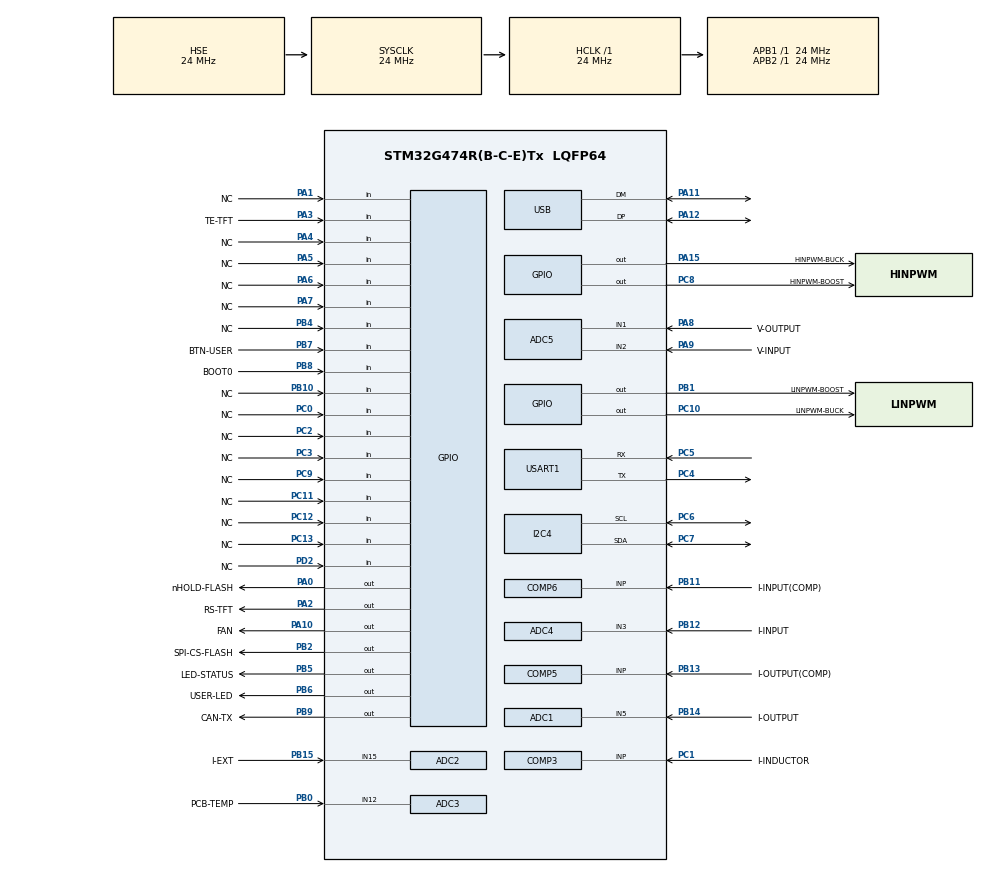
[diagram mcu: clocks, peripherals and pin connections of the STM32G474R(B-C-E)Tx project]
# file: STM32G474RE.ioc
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ADC1.Channel-3\#ChannelRegularConversion=ADC_CHANNEL_5
ADC1.NbrOfConversionFlag=1
ADC1.OffsetNumber-3\#ChannelRegularConversion=ADC_OFFSET_NONE
ADC1.Rank-3\#ChannelRegularConversion=1
ADC1.SamplingTime-3\#ChannelRegularConversion=ADC_SAMPLETIME_2CYCLES_5
ADC1.master=1
ADC2.Channel-4\#ChannelRegularConversion=ADC_CHANNEL_15
ADC2.NbrOfConversionFlag=1
ADC2.OffsetNumber-4\#ChannelRegularConversion=ADC_OFFSET_NONE
ADC2.Rank-4\#ChannelRegularConversion=1
ADC2.SamplingTime-4\#ChannelRegularConversion=ADC_SAMPLETIME_2CYCLES_5
ADC3.Channel-5\#ChannelRegularConversion=ADC_CHANNEL_12
ADC3.NbrOfConversionFlag=1
ADC3.OffsetNumber-5\#ChannelRegularConversion=ADC_OFFSET_NONE
ADC3.Rank-5\#ChannelRegularConversion=1
ADC3.SamplingTime-5\#ChannelRegularConversion=ADC_SAMPLETIME_2CYCLES_5
ADC3.master=1
ADC4.Channel-2\#ChannelRegularConversion=ADC_CHANNEL_3
ADC4.NbrOfConversionFlag=1
ADC4.OffsetNumber-2\#ChannelRegularConversion=ADC_OFFSET_NONE
ADC4.Rank-2\#ChannelRegularConversion=1
ADC4.SamplingTime-2\#ChannelRegularConversion=ADC_SAMPLETIME_2CYCLES_5
ADC5.Channel-2\#ChannelRegularConversion=ADC_CHANNEL_1
ADC5.NbrOfConversionFlag=1
ADC5.OffsetNumber-2\#ChannelRegularConversion=ADC_OFFSET_NONE
ADC5.Rank-2\#ChannelRegularConversion=1
ADC5.SamplingTime-2\#ChannelRegularConversion=ADC_SAMPLETIME_2CYCLES_5
DAC1.DAC_Channel-DAC_OUT2_Int=DAC_CHANNEL_2
DAC3.DAC_Channel-DAC_OUT2_Int=DAC_CHANNEL_2
DAC4.DAC_Channel-DAC_OUT2_Int=DAC_CHANNEL_2
I2C4.Timing=0x00506682
Mcu.Family=STM32G4
Mcu.Name=STM32G474R(B-C-E)Tx
Mcu.Package=LQFP64
NVIC.PriorityGroup=NVIC_PRIORITYGROUP_4
PA0.GPIO_Label=nHOLD-FLASH
PA0.Signal=GPIO_Output
PA1.GPIO_Label=NC
PA1.GPIO_PuPd=GPIO_PULLDOWN
PA1.Signal=GPIO_Input
PA10.GPIO_Label=FAN
PA10.Signal=GPIO_Output
PA11.Mode=Device
PA11.Signal=USB_DM
PA12.Mode=Device
PA12.Signal=USB_DP
PA13.Mode=Trace_Asynchronous_SW
PA13.Signal=SYS_JTMS-SWDIO
PA14.Mode=Trace_Asynchronous_SW
PA14.Signal=SYS_JTCK-SWCLK
PA15.GPIO_Label=HINPWM-BUCK
PA15.Signal=GPIO_Output
PA2.GPIO_Label=RS-TFT
PA2.PinState=GPIO_PIN_RESET
PA2.Signal=GPIO_Output
PA3.GPIO_Label=TE-TFT
PA3.GPIO_PuPd=GPIO_PULLDOWN
PA3.Signal=GPIO_Input
PA4.GPIO_Label=NC
PA4.GPIO_PuPd=GPIO_PULLDOWN
PA4.Signal=GPIO_Input
PA5.GPIO_Label=NC
PA5.GPIO_PuPd=GPIO_PULLDOWN
PA5.Signal=GPIO_Input
PA6.GPIO_Label=NC
PA6.GPIO_PuPd=GPIO_PULLDOWN
PA6.Signal=GPIO_Input
PA7.GPIO_Label=NC
PA7.GPIO_PuPd=GPIO_PULLDOWN
PA7.Signal=GPIO_Input
PA8.GPIO_Label=V-OUTPUT
PA8.Mode=IN1-Single-Ended
PA8.Signal=ADC5_IN1
PA9.GPIO_Label=V-INPUT
PA9.Mode=IN2-Single-Ended
PA9.Signal=ADC5_IN2
PB0.GPIO_Label=PCB-TEMP
PB0.Mode=IN12-Single-Ended
PB0.Signal=ADC3_IN12
PB1.GPIO_Label=LINPWM-BOOST
PB1.Signal=GPIO_Output
PB10.GPIO_Label=NC
PB10.GPIO_PuPd=GPIO_PULLDOWN
PB10.Signal=GPIO_Input
PB11.GPIO_Label=I-INPUT(COMP)
PB11.Mode=INP
PB11.Signal=COMP6_INP
PB12.GPIO_Label=I-INPUT
PB12.Mode=IN3-Single-Ended
PB12.Signal=ADC4_IN3
PB13.GPIO_Label=I-OUTPUT(COMP)
PB13.Mode=INP
PB13.Signal=COMP5_INP
PB14.GPIO_Label=I-OUTPUT
PB14.Mode=IN5-Single-Ended
PB14.Signal=ADC1_IN5
PB15.GPIO_Label=I-EXT
PB15.Mode=IN15-Single-Ended
PB15.Signal=ADC2_IN15
PB2.GPIO_Label=SPI-CS-FLASH
PB2.Signal=GPIO_Output
PB3.Mode=Trace_Asynchronous_SW
PB3.Signal=SYS_JTDO-SWO
PB4.GPIO_Label=NC
PB4.GPIO_Mode=GPIO_MODE_INPUT
PB4.GPIO_PuPd=GPIO_PULLDOWN
PB4.Signal=GPIO_Input
PB5.GPIO_Label=LED-STATUS
PB5.Signal=GPIO_Output
PB6.GPIO_Label=USER-LED
PB6.Signal=GPIO_Output
PB7.GPIO_Label=BTN-USER
PB7.GPIO_PuPd=GPIO_PULLDOWN
PB7.Signal=GPIO_Input
PB8-BOOT0.GPIO_Label=BOOT0
PB8-BOOT0.GPIO_PuPd=GPIO_PULLDOWN
PB8-BOOT0.Signal=GPIO_Input
PB9.GPIO_Label=CAN-TX
PB9.Signal=GPIO_Output
PC0.GPIO_Label=NC
PC0.GPIO_PuPd=GPIO_PULLDOWN
PC0.Signal=GPIO_Input
PC1.GPIO_Label=I-INDUCTOR
PC1.Mode=INP
PC1.Signal=COMP3_INP
PC10.GPIO_Label=LINPWM-BUCK
PC10.Signal=GPIO_Output
PC11.GPIO_Label=NC
PC11.GPIO_PuPd=GPIO_PULLDOWN
PC11.Signal=GPIO_Input
PC12.GPIO_Label=NC
PC12.GPIO_PuPd=GPIO_PULLDOWN
PC12.Signal=GPIO_Input
PC13.GPIO_Label=NC
PC13.GPIO_PuPd=GPIO_PULLDOWN
PC13.Signal=GPIO_Input
PC14-OSC32_IN.Mode=LSE-External-Oscillator
PC14-OSC32_IN.Signal=RCC_OSC32_IN
PC15-OSC32_OUT.Mode=LSE-External-Oscillator
PC15-OSC32_OUT.Signal=RCC_OSC32_OUT
PC2.GPIO_Label=NC
PC2.GPIO_PuPd=GPIO_PULLDOWN
PC2.Signal=GPIO_Input
PC3.GPIO_Label=NC
PC3.GPIO_PuPd=GPIO_PULLDOWN
PC3.Signal=GPIO_Input
PC4.Mode=Asynchronous
PC4.Signal=USART1_TX
PC5.Mode=Asynchronous
PC5.Signal=USART1_RX
PC6.Mode=I2C
PC6.Signal=I2C4_SCL
PC7.Mode=I2C
PC7.Signal=I2C4_SDA
PC8.GPIO_Label=HINPWM-BOOST
PC8.Signal=GPIO_Output
PC9.GPIO_Label=NC
PC9.GPIO_PuPd=GPIO_PULLDOWN
PC9.Signal=GPIO_Input
PD2.GPIO_Label=NC
PD2.GPIO_PuPd=GPIO_PULLDOWN
PD2.Signal=GPIO_Input
PF0-OSC_IN.Mode=HSE-External-Oscillator
PF0-OSC_IN.Signal=RCC_OSC_IN
PF1-OSC_OUT.Mode=HSE-External-Oscillator
PF1-OSC_OUT.Signal=RCC_OSC_OUT
ProjectManager.HeapSize=0x200
ProjectManager.StackSize=0x400
ProjectManager.TargetToolchain=STM32CubeIDE
RCC.ADC12Freq_Value=24000000
RCC.ADC345Freq_Value=24000000
RCC.AHBFreq_Value=24000000
RCC.APB1Freq_Value=24000000
RCC.APB1TimFreq_Value=24000000
RCC.APB2Freq_Value=24000000
RCC.APB2TimFreq_Value=24000000
RCC.CortexFreq_Value=24000000
RCC.EXTERNAL_CLOCK_VALUE=12288000
RCC.HCLKFreq_Value=24000000
RCC.HSE_VALUE=24000000
RCC.HSI48_VALUE=48000000
RCC.HSI_VALUE=16000000
RCC.PLLM=RCC_PLLM_DIV2
RCC.PLLSourceVirtual=RCC_PLLSOURCE_HSE
RCC.SYSCLKFreq_VALUE=24000000
RCC.SYSCLKSource=RCC_SYSCLKSOURCE_HSE
RCC.USBFreq_Value=48000000
RCC.VCOOutputFreq_Value=96000000
USART1.VirtualMode-Asynchronous=VM_ASYNC
VP_COMP3_VS_DAC3OUT1.Mode=INM_DAC3OUT1
VP_COMP5_VS_DAC4OUT1.Mode=INM_DAC4OUT1
VP_COMP6_VS_DAC2OUT1.Mode=INM_DAC2OUT1
VP_DAC1_VS_DACI1.Mode=DAC_OUT1_Int
VP_DAC1_VS_DACI2.Mode=DAC_OUT2_Int
VP_DAC2_VS_DACI1.Mode=DAC_OUT1_Int
VP_DAC3_VS_DACI1.Mode=DAC_OUT1_Int
VP_DAC3_VS_DACI2.Mode=DAC_OUT2_Int
VP_DAC4_VS_DACI1.Mode=DAC_OUT1_Int
VP_DAC4_VS_DACI2.Mode=DAC_OUT2_Int
VP_SYS_VS_DBSignals.Mode=DisableDeadBatterySignals
board=custom

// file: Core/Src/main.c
/* USER CODE BEGIN Header */
/**
 ******************************************************************************
 * @file           : main.c
 * @brief          : Main program body
 ******************************************************************************
 * @attention
 *
 * <h2><center>&copy; Copyright (c) 2021 STMicroelectronics.
 * All rights reserved.</center></h2>
 *
 * This software component is licensed by ST under BSD 3-Clause license,
 * the "License"; You may not use this file except in compliance with the
 * License. You may obtain a copy of the License at:
 *                        opensource.org/licenses/BSD-3-Clause
 *
 ******************************************************************************
 */
/* USER CODE END Header */
#include "main.h"

/* USER CODE BEGIN PD */

#define MASTER_REQ_READ    0x12
#define MASTER_REQ_WRITE   0x34
/* USER CODE END PD */

ADC_HandleTypeDef hadc1;
ADC_HandleTypeDef hadc2;
ADC_HandleTypeDef hadc3;
ADC_HandleTypeDef hadc4;
ADC_HandleTypeDef hadc5;

COMP_HandleTypeDef hcomp3;
COMP_HandleTypeDef hcomp5;
COMP_HandleTypeDef hcomp6;

DAC_HandleTypeDef hdac1;
DAC_HandleTypeDef hdac2;
DAC_HandleTypeDef hdac3;
DAC_HandleTypeDef hdac4;

I2C_HandleTypeDef hi2c4;

UART_HandleTypeDef huart1;

PCD_HandleTypeDef hpcd_USB_FS;

/* USER CODE BEGIN PV */

/* Buffer used for transmission */
uint8_t aTxBuffer[] = " ****I2C_test_communication_message**** ";

/* Buffer used for reception */
uint8_t aRxBuffer[RXBUFFERSIZE];
__IO uint16_t hTxNumData = 0;
__IO uint16_t hRxNumData = 0;
uint8_t bTransferRequest = 0;

/* USER CODE END PV */

void SystemClock_Config(void);
static void MX_GPIO_Init(void);
static void MX_ADC1_Init(void);
static void MX_ADC2_Init(void);
static void MX_ADC3_Init(void);
static void MX_ADC4_Init(void);
static void MX_ADC5_Init(void);
static void MX_COMP3_Init(void);
static void MX_COMP5_Init(void);
static void MX_COMP6_Init(void);
static void MX_DAC1_Init(void);
static void MX_DAC2_Init(void);
static void MX_DAC3_Init(void);
static void MX_DAC4_Init(void);
static void MX_I2C4_Init(void);
static void MX_USART1_UART_Init(void);
static void MX_USB_PCD_Init(void);

/* USER CODE BEGIN PFP */

static uint16_t Buffercmp(uint8_t *pBuffer1, uint8_t *pBuffer2,
		uint16_t BufferLength);
static void Flush_Buffer(uint8_t *pBuffer, uint16_t BufferLength);

/* USER CODE END PFP */

int main(void) {
	/* USER CODE BEGIN 1 */
	HAL_StatusTypeDef ret;

	/* USER CODE END 1 */

	/* MCU Configuration--------------------------------------------------------*/

	/* Reset of all peripherals, Initializes the Flash interface and the Systick. */
	HAL_Init();

	/* Configure the system clock */
	SystemClock_Config();

	/* Initialize all configured peripherals */
	MX_GPIO_Init();
	MX_ADC1_Init();
	MX_ADC2_Init();
	MX_ADC3_Init();
	MX_ADC4_Init();
	MX_ADC5_Init();
	MX_COMP3_Init();
	MX_COMP5_Init();
	MX_COMP6_Init();
	MX_DAC1_Init();
	MX_DAC2_Init();
	MX_DAC3_Init();
	MX_DAC4_Init();
	MX_I2C4_Init();
	MX_USART1_UART_Init();
	MX_USB_PCD_Init();

	/* USER CODE BEGIN 2 */

	/*Turn on LED_Status*/
	HAL_GPIO_WritePin  ( GPIOB, LED_STATUS_Pin,  GPIO_PIN_SET  );

	/* Wait for User push-button press before starting the Communication */
	while (HAL_GPIO_ReadPin(GPIOB, BTN_USER_Pin) == GPIO_PIN_RESET) {
	}

	/* Wait for User push-button release before starting the Communication */
	while (HAL_GPIO_ReadPin(GPIOB, BTN_USER_Pin) == GPIO_PIN_SET) {
	}

	/* USER CODE END 2 */

	/* Infinite loop */
	/* USER CODE BEGIN WHILE */
	while (1) {
		hTxNumData = TXBUFFERSIZE;
		hRxNumData = RXBUFFERSIZE;

		/* Update bTransferRequest to send buffer write request for Slave */
		bTransferRequest = MASTER_REQ_WRITE;

		/*##-2- Master sends write request for slave #############################*/
		do {
			if (HAL_I2C_Master_Transmit_IT(&hi2c4, (uint16_t) I2C_ADDRESS,
					(uint8_t*) &bTransferRequest, 1) != HAL_OK) {
				/* Error_Handler() function is called when error occurs. */
				Error_Handler();
			}

			/*  Before starting a new communication transfer, you need to check the current
			 state of the peripheral; if it’s busy you need to wait for the end of current
			 transfer before starting a new one.
			 For simplicity reasons, this example is just waiting till the end of the
			 transfer, but application may perform other tasks while transfer operation
			 is ongoing. */
			while (HAL_I2C_GetState(&hi2c4) != HAL_I2C_STATE_READY) {}

			/* When Acknowledge failure occurs (Slave don't acknowledge it's address)
			 Master restarts communication */
		} while (HAL_I2C_GetError(&hi2c4) == HAL_I2C_ERROR_AF);

		/*##-3- Master sends number of data to be written ########################*/
		do {
			if (HAL_I2C_Master_Transmit_IT(&hi2c4, (uint16_t) I2C_ADDRESS,
					(uint8_t*) &hTxNumData, 2) != HAL_OK) {
				/* Error_Handler() function is called when error occurs. */
				Error_Handler();
			}

			/*  Before starting a new communication transfer, you need to check the current
			 state of the peripheral; if it’s busy you need to wait for the end of current
			 transfer before starting a new one.
			 For simplicity reasons, this example is just waiting till the end of the
			 transfer, but application may perform other tasks while transfer operation
			 is ongoing. */
			while (HAL_I2C_GetState(&hi2c4) != HAL_I2C_STATE_READY) {
			}

			/* When Acknowledge failure occurs (Slave don't acknowledge it's address)
			 Master restarts communication */
		} while (HAL_I2C_GetError(&hi2c4) == HAL_I2C_ERROR_AF);

		/*##-4- Master sends aTxBuffer to slave ##################################*/
	    do
	    {
	      if (HAL_I2C_Master_Transmit_IT(&hi2c4, (uint16_t)I2C_ADDRESS, (uint8_t *)aTxBuffer, TXBUFFERSIZE) != HAL_OK)
	      {
	        /* Error_Handler() function is called when error occurs. */
	        Error_Handler();
	      }

	      /*  Before starting a new communication transfer, you need to check the current
	          state of the peripheral; if it’s busy you need to wait for the end of current
	          transfer before starting a new one.
	          For simplicity reasons, this example is just waiting till the end of the
	          transfer, but application may perform other tasks while transfer operation
	          is ongoing. */
	      while (HAL_I2C_GetState(&hi2c4) != HAL_I2C_STATE_READY)
	      {
	      }

	      /* When Acknowledge failure occurs (Slave don't acknowledge it's address)
	         Master restarts communication */
	    }
	    while (HAL_I2C_GetError(&hi2c4) == HAL_I2C_ERROR_AF);

	    /* Update bTransferRequest to send buffer read request for Slave */
	    bTransferRequest = MASTER_REQ_READ;

	    /*##-5- Master sends read request for slave ##############################*/
	    do
	    {
	      if (HAL_I2C_Master_Transmit_IT(&hi2c4, (uint16_t)I2C_ADDRESS, (uint8_t *)&bTransferRequest, 1) != HAL_OK)
	      {
	        /* Error_Handler() function is called when error occurs. */
	        Error_Handler();
	      }

	      /*  Before starting a new communication transfer, you need to check the current
	          state of the peripheral; if it’s busy you need to wait for the end of current
	          transfer before starting a new one.
	          For simplicity reasons, this example is just waiting till the end of the
	          transfer, but application may perform other tasks while transfer operation
	          is ongoing. */
	      while (HAL_I2C_GetState(&hi2c4) != HAL_I2C_STATE_READY)
	      {
	      }

	      /* When Acknowledge failure occurs (Slave don't acknowledge it's address)
	         Master restarts communication */
	    }
	    while (HAL_I2C_GetError(&hi2c4) == HAL_I2C_ERROR_AF);

	    /*##-6- Master sends number of data to be read ###########################*/
	    do
	    {
	      if (HAL_I2C_Master_Transmit_IT(&hi2c4, (uint16_t)I2C_ADDRESS, (uint8_t *)&hRxNumData, 2) != HAL_OK)
	      {
	        /* Error_Handler() function is called when error occurs. */
	        Error_Handler();
	      }

	      /*  Before starting a new communication transfer, you need to check the current
	          state of the peripheral; if it’s busy you need to wait for the end of current
	          transfer before starting a new one.
	          For simplicity reasons, this example is just waiting till the end of the
	          transfer, but application may perform other tasks while transfer operation
	          is ongoing. */
	      while (HAL_I2C_GetState(&hi2c4) != HAL_I2C_STATE_READY)
	      {
	      }

	      /* When Acknowledge failure occurs (Slave don't acknowledge it's address)
	         Master restarts communication */
	    }
	    while (HAL_I2C_GetError(&hi2c4) == HAL_I2C_ERROR_AF);

	    /*##-7- Master receives aRxBuffer from slave #############################*/
	    do
	    {
	      if (HAL_I2C_Master_Receive_IT(&hi2c4, (uint16_t)I2C_ADDRESS, (uint8_t *)aRxBuffer, RXBUFFERSIZE) != HAL_OK)
	      {
	        /* Error_Handler() function is called when error occurs. */
	        Error_Handler();
	      }

	      /*  Before starting a new communication transfer, you need to check the current
	          state of the peripheral; if it’s busy you need to wait for the end of current
	          transfer before starting a new one.
	          For simplicity reasons, this example is just waiting till the end of the
	          transfer, but application may perform other tasks while transfer operation
	          is ongoing. */
	      while (HAL_I2C_GetState(&hi2c4) != HAL_I2C_STATE_READY)
	      {
	      }

	      /* When Acknowledge failure occurs (Slave don't acknowledge it's address)
	         Master restarts communication */
	    }
	    while (HAL_I2C_GetError(&hi2c4) == HAL_I2C_ERROR_AF);

	    /* Check correctness of received buffer ##################################*/
	    if (Buffercmp((uint8_t *)aTxBuffer, (uint8_t *)aRxBuffer, hRxNumData))
	    {
	      /* Processing Error */
	      Error_Handler();
	    }

	    /* Flush Rx buffers */
	    Flush_Buffer((uint8_t *)aRxBuffer, RXBUFFERSIZE);

	    /* Toggle LED2 */
	    HAL_GPIO_TogglePin(GPIOB, LED_STATUS_Pin);

	    /* This delay permits to see LED2 toggling */
	    HAL_Delay(25);
		/* USER CODE END WHILE */

	}
}

void SystemClock_Config(void) {
	RCC_OscInitTypeDef RCC_OscInitStruct = { 0 };
	RCC_ClkInitTypeDef RCC_ClkInitStruct = { 0 };
	RCC_PeriphCLKInitTypeDef PeriphClkInit = { 0 };

	/** Configure the main internal regulator output voltage
	 */
	HAL_PWREx_ControlVoltageScaling(PWR_REGULATOR_VOLTAGE_SCALE1);
	/** Initializes the RCC Oscillators according to the specified parameters
	 * in the RCC_OscInitTypeDef structure.
	 */
	RCC_OscInitStruct.OscillatorType = RCC_OSCILLATORTYPE_HSE;
	RCC_OscInitStruct.HSEState = RCC_HSE_ON;
	RCC_OscInitStruct.PLL.PLLState = RCC_PLL_ON;
	RCC_OscInitStruct.PLL.PLLSource = RCC_PLLSOURCE_HSE;
	RCC_OscInitStruct.PLL.PLLM = RCC_PLLM_DIV2;
	RCC_OscInitStruct.PLL.PLLN = 8;
	RCC_OscInitStruct.PLL.PLLP = RCC_PLLP_DIV2;
	RCC_OscInitStruct.PLL.PLLQ = RCC_PLLQ_DIV2;
	RCC_OscInitStruct.PLL.PLLR = RCC_PLLR_DIV2;
	if (HAL_RCC_OscConfig(&RCC_OscInitStruct) != HAL_OK) {
		Error_Handler();
	}
	/** Initializes the CPU, AHB and APB buses clocks
	 */
	RCC_ClkInitStruct.ClockType = RCC_CLOCKTYPE_HCLK | RCC_CLOCKTYPE_SYSCLK
			| RCC_CLOCKTYPE_PCLK1 | RCC_CLOCKTYPE_PCLK2;
	RCC_ClkInitStruct.SYSCLKSource = RCC_SYSCLKSOURCE_HSE;
	RCC_ClkInitStruct.AHBCLKDivider = RCC_SYSCLK_DIV1;
	RCC_ClkInitStruct.APB1CLKDivider = RCC_HCLK_DIV1;
	RCC_ClkInitStruct.APB2CLKDivider = RCC_HCLK_DIV1;

	if (HAL_RCC_ClockConfig(&RCC_ClkInitStruct, FLASH_LATENCY_0) != HAL_OK) {
		Error_Handler();
	}
	/** Initializes the peripherals clocks
	 */
	PeriphClkInit.PeriphClockSelection = RCC_PERIPHCLK_USART1
			| RCC_PERIPHCLK_I2C4 | RCC_PERIPHCLK_USB | RCC_PERIPHCLK_ADC12
			| RCC_PERIPHCLK_ADC345;
	PeriphClkInit.Usart1ClockSelection = RCC_USART1CLKSOURCE_PCLK2;
	PeriphClkInit.I2c4ClockSelection = RCC_I2C4CLKSOURCE_PCLK1;
	PeriphClkInit.UsbClockSelection = RCC_USBCLKSOURCE_PLL;
	PeriphClkInit.Adc12ClockSelection = RCC_ADC12CLKSOURCE_SYSCLK;
	PeriphClkInit.Adc345ClockSelection = RCC_ADC345CLKSOURCE_SYSCLK;
	if (HAL_RCCEx_PeriphCLKConfig(&PeriphClkInit) != HAL_OK) {
		Error_Handler();
	}
}

static void MX_ADC1_Init(void) {

	ADC_MultiModeTypeDef multimode = { 0 };
	ADC_ChannelConfTypeDef sConfig = { 0 };

	/** Common config
	 */
	hadc1.Instance = ADC1;
	hadc1.Init.ClockPrescaler = ADC_CLOCK_SYNC_PCLK_DIV2;
	hadc1.Init.Resolution = ADC_RESOLUTION_12B;
	hadc1.Init.DataAlign = ADC_DATAALIGN_RIGHT;
	hadc1.Init.GainCompensation = 0;
	hadc1.Init.ScanConvMode = ADC_SCAN_DISABLE;
	hadc1.Init.EOCSelection = ADC_EOC_SINGLE_CONV;
	hadc1.Init.LowPowerAutoWait = DISABLE;
	hadc1.Init.ContinuousConvMode = DISABLE;
	hadc1.Init.NbrOfConversion = 1;
	hadc1.Init.DiscontinuousConvMode = DISABLE;
	hadc1.Init.ExternalTrigConv = ADC_SOFTWARE_START;
	hadc1.Init.ExternalTrigConvEdge = ADC_EXTERNALTRIGCONVEDGE_NONE;
	hadc1.Init.DMAContinuousRequests = DISABLE;
	hadc1.Init.Overrun = ADC_OVR_DATA_PRESERVED;
	hadc1.Init.OversamplingMode = DISABLE;
	if (HAL_ADC_Init(&hadc1) != HAL_OK) {
		Error_Handler();
	}
	/** Configure the ADC multi-mode
	 */
	multimode.Mode = ADC_MODE_INDEPENDENT;
	if (HAL_ADCEx_MultiModeConfigChannel(&hadc1, &multimode) != HAL_OK) {
		Error_Handler();
	}
	/** Configure Regular Channel
	 */
	sConfig.Channel = ADC_CHANNEL_5;
	sConfig.Rank = ADC_REGULAR_RANK_1;
	sConfig.SamplingTime = ADC_SAMPLETIME_2CYCLES_5;
	sConfig.SingleDiff = ADC_SINGLE_ENDED;
	sConfig.OffsetNumber = ADC_OFFSET_NONE;
	sConfig.Offset = 0;
	if (HAL_ADC_ConfigChannel(&hadc1, &sConfig) != HAL_OK) {
		Error_Handler();
	}

}

static void MX_ADC2_Init(void) {

	ADC_ChannelConfTypeDef sConfig = { 0 };

	/** Common config
	 */
	hadc2.Instance = ADC2;
	hadc2.Init.ClockPrescaler = ADC_CLOCK_SYNC_PCLK_DIV2;
	hadc2.Init.Resolution = ADC_RESOLUTION_12B;
	hadc2.Init.DataAlign = ADC_DATAALIGN_RIGHT;
	hadc2.Init.GainCompensation = 0;
	hadc2.Init.ScanConvMode = ADC_SCAN_DISABLE;
	hadc2.Init.EOCSelection = ADC_EOC_SINGLE_CONV;
	hadc2.Init.LowPowerAutoWait = DISABLE;
	hadc2.Init.ContinuousConvMode = DISABLE;
	hadc2.Init.NbrOfConversion = 1;
	hadc2.Init.DiscontinuousConvMode = DISABLE;
	hadc2.Init.ExternalTrigConv = ADC_SOFTWARE_START;
	hadc2.Init.ExternalTrigConvEdge = ADC_EXTERNALTRIGCONVEDGE_NONE;
	hadc2.Init.DMAContinuousRequests = DISABLE;
	hadc2.Init.Overrun = ADC_OVR_DATA_PRESERVED;
	hadc2.Init.OversamplingMode = DISABLE;
	if (HAL_ADC_Init(&hadc2) != HAL_OK) {
		Error_Handler();
	}
	/** Configure Regular Channel
	 */
	sConfig.Channel = ADC_CHANNEL_15;
	sConfig.Rank = ADC_REGULAR_RANK_1;
	sConfig.SamplingTime = ADC_SAMPLETIME_2CYCLES_5;
	sConfig.SingleDiff = ADC_SINGLE_ENDED;
	sConfig.OffsetNumber = ADC_OFFSET_NONE;
	sConfig.Offset = 0;
	if (HAL_ADC_ConfigChannel(&hadc2, &sConfig) != HAL_OK) {
		Error_Handler();
	}

}

static void MX_ADC3_Init(void) {

	ADC_MultiModeTypeDef multimode = { 0 };
	ADC_ChannelConfTypeDef sConfig = { 0 };

	/** Common config
	 */
	hadc3.Instance = ADC3;
	hadc3.Init.ClockPrescaler = ADC_CLOCK_SYNC_PCLK_DIV2;
	hadc3.Init.Resolution = ADC_RESOLUTION_12B;
	hadc3.Init.DataAlign = ADC_DATAALIGN_RIGHT;
	hadc3.Init.GainCompensation = 0;
	hadc3.Init.ScanConvMode = ADC_SCAN_DISABLE;
	hadc3.Init.EOCSelection = ADC_EOC_SINGLE_CONV;
	hadc3.Init.LowPowerAutoWait = DISABLE;
	hadc3.Init.ContinuousConvMode = DISABLE;
	hadc3.Init.NbrOfConversion = 1;
	hadc3.Init.DiscontinuousConvMode = DISABLE;
	hadc3.Init.ExternalTrigConv = ADC_SOFTWARE_START;
	hadc3.Init.ExternalTrigConvEdge = ADC_EXTERNALTRIGCONVEDGE_NONE;
	hadc3.Init.DMAContinuousRequests = DISABLE;
	hadc3.Init.Overrun = ADC_OVR_DATA_PRESERVED;
	hadc3.Init.OversamplingMode = DISABLE;
	if (HAL_ADC_Init(&hadc3) != HAL_OK) {
		Error_Handler();
	}
	/** Configure the ADC multi-mode
	 */
	multimode.Mode = ADC_MODE_INDEPENDENT;
	if (HAL_ADCEx_MultiModeConfigChannel(&hadc3, &multimode) != HAL_OK) {
		Error_Handler();
	}
	/** Configure Regular Channel
	 */
	sConfig.Channel = ADC_CHANNEL_12;
	sConfig.Rank = ADC_REGULAR_RANK_1;
	sConfig.SamplingTime = ADC_SAMPLETIME_2CYCLES_5;
	sConfig.SingleDiff = ADC_SINGLE_ENDED;
	sConfig.OffsetNumber = ADC_OFFSET_NONE;
	sConfig.Offset = 0;
	if (HAL_ADC_ConfigChannel(&hadc3, &sConfig) != HAL_OK) {
		Error_Handler();
	}

}

static void MX_ADC4_Init(void) {

	ADC_ChannelConfTypeDef sConfig = { 0 };

	/** Common config
	 */
	hadc4.Instance = ADC4;
	hadc4.Init.ClockPrescaler = ADC_CLOCK_SYNC_PCLK_DIV2;
	hadc4.Init.Resolution = ADC_RESOLUTION_12B;
	hadc4.Init.DataAlign = ADC_DATAALIGN_RIGHT;
	hadc4.Init.GainCompensation = 0;
	hadc4.Init.ScanConvMode = ADC_SCAN_DISABLE;
	hadc4.Init.EOCSelection = ADC_EOC_SINGLE_CONV;
	hadc4.Init.LowPowerAutoWait = DISABLE;
	hadc4.Init.ContinuousConvMode = DISABLE;
	hadc4.Init.NbrOfConversion = 1;
	hadc4.Init.DiscontinuousConvMode = DISABLE;
	hadc4.Init.ExternalTrigConv = ADC_SOFTWARE_START;
	hadc4.Init.ExternalTrigConvEdge = ADC_EXTERNALTRIGCONVEDGE_NONE;
	hadc4.Init.DMAContinuousRequests = DISABLE;
	hadc4.Init.Overrun = ADC_OVR_DATA_PRESERVED;
	hadc4.Init.OversamplingMode = DISABLE;
	if (HAL_ADC_Init(&hadc4) != HAL_OK) {
		Error_Handler();
	}
	/** Configure Regular Channel
	 */
	sConfig.Channel = ADC_CHANNEL_3;
	sConfig.Rank = ADC_REGULAR_RANK_1;
	sConfig.SamplingTime = ADC_SAMPLETIME_2CYCLES_5;
	sConfig.SingleDiff = ADC_SINGLE_ENDED;
	sConfig.OffsetNumber = ADC_OFFSET_NONE;
	sConfig.Offset = 0;
	if (HAL_ADC_ConfigChannel(&hadc4, &sConfig) != HAL_OK) {
		Error_Handler();
	}

}

static void MX_ADC5_Init(void) {

	ADC_ChannelConfTypeDef sConfig = { 0 };

	/** Common config
	 */
	hadc5.Instance = ADC5;
	hadc5.Init.ClockPrescaler = ADC_CLOCK_SYNC_PCLK_DIV2;
	hadc5.Init.Resolution = ADC_RESOLUTION_12B;
	hadc5.Init.DataAlign = ADC_DATAALIGN_RIGHT;
	hadc5.Init.GainCompensation = 0;
	hadc5.Init.ScanConvMode = ADC_SCAN_DISABLE;
	hadc5.Init.EOCSelection = ADC_EOC_SINGLE_CONV;
	hadc5.Init.LowPowerAutoWait = DISABLE;
	hadc5.Init.ContinuousConvMode = DISABLE;
	hadc5.Init.NbrOfConversion = 1;
	hadc5.Init.DiscontinuousConvMode = DISABLE;
	hadc5.Init.ExternalTrigConv = ADC_SOFTWARE_START;
	hadc5.Init.ExternalTrigConvEdge = ADC_EXTERNALTRIGCONVEDGE_NONE;
	hadc5.Init.DMAContinuousRequests = DISABLE;
	hadc5.Init.Overrun = ADC_OVR_DATA_PRESERVED;
	hadc5.Init.OversamplingMode = DISABLE;
	if (HAL_ADC_Init(&hadc5) != HAL_OK) {
		Error_Handler();
	}
	/** Configure Regular Channel
	 */
	sConfig.Channel = ADC_CHANNEL_1;
	sConfig.Rank = ADC_REGULAR_RANK_1;
	sConfig.SamplingTime = ADC_SAMPLETIME_2CYCLES_5;
	sConfig.SingleDiff = ADC_SINGLE_ENDED;
	sConfig.OffsetNumber = ADC_OFFSET_NONE;
	sConfig.Offset = 0;
	if (HAL_ADC_ConfigChannel(&hadc5, &sConfig) != HAL_OK) {
		Error_Handler();
	}

}

static void MX_COMP3_Init(void) {

	hcomp3.Instance = COMP3;
	hcomp3.Init.InputPlus = COMP_INPUT_PLUS_IO2;
	hcomp3.Init.InputMinus = COMP_INPUT_MINUS_DAC3_CH1;
	hcomp3.Init.OutputPol = COMP_OUTPUTPOL_NONINVERTED;
	hcomp3.Init.Hysteresis = COMP_HYSTERESIS_NONE;
	hcomp3.Init.BlankingSrce = COMP_BLANKINGSRC_NONE;
	hcomp3.Init.TriggerMode = COMP_TRIGGERMODE_NONE;
	if (HAL_COMP_Init(&hcomp3) != HAL_OK) {
		Error_Handler();
	}

}

static void MX_COMP5_Init(void) {

	hcomp5.Instance = COMP5;
	hcomp5.Init.InputPlus = COMP_INPUT_PLUS_IO1;
	hcomp5.Init.InputMinus = COMP_INPUT_MINUS_DAC4_CH1;
	hcomp5.Init.OutputPol = COMP_OUTPUTPOL_NONINVERTED;
	hcomp5.Init.Hysteresis = COMP_HYSTERESIS_NONE;
	hcomp5.Init.BlankingSrce = COMP_BLANKINGSRC_NONE;
	hcomp5.Init.TriggerMode = COMP_TRIGGERMODE_NONE;
	if (HAL_COMP_Init(&hcomp5) != HAL_OK) {
		Error_Handler();
	}

}

static void MX_COMP6_Init(void) {

	hcomp6.Instance = COMP6;
	hcomp6.Init.InputPlus = COMP_INPUT_PLUS_IO1;
	hcomp6.Init.InputMinus = COMP_INPUT_MINUS_DAC2_CH1;
	hcomp6.Init.OutputPol = COMP_OUTPUTPOL_NONINVERTED;
	hcomp6.Init.Hysteresis = COMP_HYSTERESIS_NONE;
	hcomp6.Init.BlankingSrce = COMP_BLANKINGSRC_NONE;
	hcomp6.Init.TriggerMode = COMP_TRIGGERMODE_NONE;
	if (HAL_COMP_Init(&hcomp6) != HAL_OK) {
		Error_Handler();
	}

}

static void MX_DAC1_Init(void) {

	DAC_ChannelConfTypeDef sConfig = { 0 };

	/** DAC Initialization
	 */
	hdac1.Instance = DAC1;
	if (HAL_DAC_Init(&hdac1) != HAL_OK) {
		Error_Handler();
	}
	/** DAC channel OUT1 config
	 */
	sConfig.DAC_HighFrequency = DAC_HIGH_FREQUENCY_INTERFACE_MODE_AUTOMATIC;
	sConfig.DAC_DMADoubleDataMode = DISABLE;
	sConfig.DAC_SignedFormat = DISABLE;
	sConfig.DAC_SampleAndHold = DAC_SAMPLEANDHOLD_DISABLE;
	sConfig.DAC_Trigger = DAC_TRIGGER_NONE;
	sConfig.DAC_Trigger2 = DAC_TRIGGER_NONE;
	sConfig.DAC_OutputBuffer = DAC_OUTPUTBUFFER_DISABLE;
	sConfig.DAC_ConnectOnChipPeripheral = DAC_CHIPCONNECT_INTERNAL;
	sConfig.DAC_UserTrimming = DAC_TRIMMING_FACTORY;
	if (HAL_DAC_ConfigChannel(&hdac1, &sConfig, DAC_CHANNEL_1) != HAL_OK) {
		Error_Handler();
	}
	/** DAC channel OUT2 config
	 */
	sConfig.DAC_ConnectOnChipPeripheral = DAC_CHIPCONNECT_INTERNAL;
	if (HAL_DAC_ConfigChannel(&hdac1, &sConfig, DAC_CHANNEL_2) != HAL_OK) {
		Error_Handler();
	}

}

static void MX_DAC2_Init(void) {

	DAC_ChannelConfTypeDef sConfig = { 0 };

	/** DAC Initialization
	 */
	hdac2.Instance = DAC2;
	if (HAL_DAC_Init(&hdac2) != HAL_OK) {
		Error_Handler();
	}
	/** DAC channel OUT1 config
	 */
	sConfig.DAC_HighFrequency = DAC_HIGH_FREQUENCY_INTERFACE_MODE_AUTOMATIC;
	sConfig.DAC_DMADoubleDataMode = DISABLE;
	sConfig.DAC_SignedFormat = DISABLE;
	sConfig.DAC_SampleAndHold = DAC_SAMPLEANDHOLD_DISABLE;
	sConfig.DAC_Trigger = DAC_TRIGGER_NONE;
	sConfig.DAC_Trigger2 = DAC_TRIGGER_NONE;
	sConfig.DAC_OutputBuffer = DAC_OUTPUTBUFFER_DISABLE;
	sConfig.DAC_ConnectOnChipPeripheral = DAC_CHIPCONNECT_INTERNAL;
	sConfig.DAC_UserTrimming = DAC_TRIMMING_FACTORY;
	if (HAL_DAC_ConfigChannel(&hdac2, &sConfig, DAC_CHANNEL_1) != HAL_OK) {
		Error_Handler();
	}

}

static void MX_DAC3_Init(void) {

	DAC_ChannelConfTypeDef sConfig = { 0 };

	/** DAC Initialization
	 */
	hdac3.Instance = DAC3;
	if (HAL_DAC_Init(&hdac3) != HAL_OK) {
		Error_Handler();
	}
	/** DAC channel OUT1 config
	 */
	sConfig.DAC_HighFrequency = DAC_HIGH_FREQUENCY_INTERFACE_MODE_AUTOMATIC;
	sConfig.DAC_DMADoubleDataMode = DISABLE;
	sConfig.DAC_SignedFormat = DISABLE;
	sConfig.DAC_SampleAndHold = DAC_SAMPLEANDHOLD_DISABLE;
	sConfig.DAC_Trigger = DAC_TRIGGER_NONE;
	sConfig.DAC_Trigger2 = DAC_TRIGGER_NONE;
	sConfig.DAC_OutputBuffer = DAC_OUTPUTBUFFER_DISABLE;
	sConfig.DAC_ConnectOnChipPeripheral = DAC_CHIPCONNECT_INTERNAL;
	sConfig.DAC_UserTrimming = DAC_TRIMMING_FACTORY;
	if (HAL_DAC_ConfigChannel(&hdac3, &sConfig, DAC_CHANNEL_1) != HAL_OK) {
		Error_Handler();
	}
	/** DAC channel OUT2 config
	 */
	sConfig.DAC_ConnectOnChipPeripheral = DAC_CHIPCONNECT_INTERNAL;
	if (HAL_DAC_ConfigChannel(&hdac3, &sConfig, DAC_CHANNEL_2) != HAL_OK) {
		Error_Handler();
	}

}

static void MX_DAC4_Init(void) {

	DAC_ChannelConfTypeDef sConfig = { 0 };

	/** DAC Initialization
	 */
	hdac4.Instance = DAC4;
	if (HAL_DAC_Init(&hdac4) != HAL_OK) {
		Error_Handler();
	}
	/** DAC channel OUT1 config
	 */
	sConfig.DAC_HighFrequency = DAC_HIGH_FREQUENCY_INTERFACE_MODE_AUTOMATIC;
	sConfig.DAC_DMADoubleDataMode = DISABLE;
	sConfig.DAC_SignedFormat = DISABLE;
	sConfig.DAC_SampleAndHold = DAC_SAMPLEANDHOLD_DISABLE;
	sConfig.DAC_Trigger = DAC_TRIGGER_NONE;
	sConfig.DAC_Trigger2 = DAC_TRIGGER_NONE;
	sConfig.DAC_OutputBuffer = DAC_OUTPUTBUFFER_DISABLE;
	sConfig.DAC_ConnectOnChipPeripheral = DAC_CHIPCONNECT_INTERNAL;
	sConfig.DAC_UserTrimming = DAC_TRIMMING_FACTORY;
	if (HAL_DAC_ConfigChannel(&hdac4, &sConfig, DAC_CHANNEL_1) != HAL_OK) {
		Error_Handler();
	}
	/** DAC channel OUT2 config
	 */
	sConfig.DAC_ConnectOnChipPeripheral = DAC_CHIPCONNECT_INTERNAL;
	if (HAL_DAC_ConfigChannel(&hdac4, &sConfig, DAC_CHANNEL_2) != HAL_OK) {
		Error_Handler();
	}

}

static void MX_I2C4_Init(void) {

	hi2c4.Instance = I2C4;
	hi2c4.Init.Timing = 0x00506682; //100 kHz
	hi2c4.Init.OwnAddress1 = 0;
	hi2c4.Init.AddressingMode = I2C_ADDRESSINGMODE_7BIT;
	hi2c4.Init.DualAddressMode = I2C_DUALADDRESS_DISABLE;
	hi2c4.Init.OwnAddress2 = 0;
	hi2c4.Init.OwnAddress2Masks = I2C_OA2_NOMASK;
	hi2c4.Init.GeneralCallMode = I2C_GENERALCALL_DISABLE;
	hi2c4.Init.NoStretchMode = I2C_NOSTRETCH_DISABLE;
	if (HAL_I2C_Init(&hi2c4) != HAL_OK) {
		Error_Handler();
	}
	/** Configure Analogue filter
	 */
	if (HAL_I2CEx_ConfigAnalogFilter(&hi2c4, I2C_ANALOGFILTER_ENABLE)
			!= HAL_OK) {
		Error_Handler();
	}
	/** Configure Digital filter
	 */
	if (HAL_I2CEx_ConfigDigitalFilter(&hi2c4, 0) != HAL_OK) {
		Error_Handler();
	}

}

static void MX_USART1_UART_Init(void) {

	huart1.Instance = USART1;
	huart1.Init.BaudRate = 115200;
	huart1.Init.WordLength = UART_WORDLENGTH_8B;
	huart1.Init.StopBits = UART_STOPBITS_1;
	huart1.Init.Parity = UART_PARITY_NONE;
	huart1.Init.Mode = UART_MODE_TX_RX;
	huart1.Init.HwFlowCtl = UART_HWCONTROL_NONE;
	huart1.Init.OverSampling = UART_OVERSAMPLING_16;
	huart1.Init.OneBitSampling = UART_ONE_BIT_SAMPLE_DISABLE;
	huart1.Init.ClockPrescaler = UART_PRESCALER_DIV1;
	huart1.AdvancedInit.AdvFeatureInit = UART_ADVFEATURE_NO_INIT;
	if (HAL_UART_Init(&huart1) != HAL_OK) {
		Error_Handler();
	}
	if (HAL_UARTEx_SetTxFifoThreshold(&huart1, UART_TXFIFO_THRESHOLD_1_8)
			!= HAL_OK) {
		Error_Handler();
	}
	if (HAL_UARTEx_SetRxFifoThreshold(&huart1, UART_RXFIFO_THRESHOLD_1_8)
			!= HAL_OK) {
		Error_Handler();
	}
	if (HAL_UARTEx_DisableFifoMode(&huart1) != HAL_OK) {
		Error_Handler();
	}

}

static void MX_USB_PCD_Init(void) {

	hpcd_USB_FS.Instance = USB;
	hpcd_USB_FS.Init.dev_endpoints = 8;
	hpcd_USB_FS.Init.speed = PCD_SPEED_FULL;
	hpcd_USB_FS.Init.phy_itface = PCD_PHY_EMBEDDED;
	hpcd_USB_FS.Init.Sof_enable = DISABLE;
	hpcd_USB_FS.Init.low_power_enable = DISABLE;
	hpcd_USB_FS.Init.lpm_enable = DISABLE;
	hpcd_USB_FS.Init.battery_charging_enable = DISABLE;
	if (HAL_PCD_Init(&hpcd_USB_FS) != HAL_OK) {
		Error_Handler();
	}

}

static void MX_GPIO_Init(void) {
	GPIO_InitTypeDef GPIO_InitStruct = { 0 };

	/* GPIO Ports Clock Enable */
	__HAL_RCC_GPIOC_CLK_ENABLE();
	__HAL_RCC_GPIOF_CLK_ENABLE();
	__HAL_RCC_GPIOA_CLK_ENABLE();
	__HAL_RCC_GPIOB_CLK_ENABLE();
	__HAL_RCC_GPIOD_CLK_ENABLE();

	/*Configure GPIO pin Output Level */
	HAL_GPIO_WritePin(GPIOA,
			nHOLD_FLASH_Pin | RS_TFT_Pin | FAN_Pin | HINPWM_BUCK_Pin,
			GPIO_PIN_RESET);

	/*Configure GPIO pin Output Level */
	HAL_GPIO_WritePin(GPIOB,
			LINPWM_BOOST_Pin | SPI_CS_FLASH_Pin | LED_STATUS_Pin | USER_LED_Pin
					| CAN_TX_Pin, GPIO_PIN_RESET);

	/*Configure GPIO pin Output Level */
	HAL_GPIO_WritePin(GPIOC, HINPWM_BOOST_Pin | LINPWM_BUCK_Pin,
			GPIO_PIN_RESET);

	/*Configure GPIO pins : NC_Pin NCC0_Pin NCC2_Pin NCC3_Pin
	 NCC9_Pin NCC11_Pin NCC12_Pin */
	GPIO_InitStruct.Pin = NC_Pin | NCC0_Pin | NCC2_Pin | NCC3_Pin | NCC9_Pin
			| NCC11_Pin | NCC12_Pin;
	GPIO_InitStruct.Mode = GPIO_MODE_INPUT;
	GPIO_InitStruct.Pull = GPIO_PULLDOWN;
	HAL_GPIO_Init(GPIOC, &GPIO_InitStruct);

	/*Configure GPIO pins : nHOLD_FLASH_Pin RS_TFT_Pin FAN_Pin HINPWM_BUCK_Pin */
	GPIO_InitStruct.Pin = nHOLD_FLASH_Pin | RS_TFT_Pin | FAN_Pin
			| HINPWM_BUCK_Pin;
	GPIO_InitStruct.Mode = GPIO_MODE_OUTPUT_PP;
	GPIO_InitStruct.Pull = GPIO_NOPULL;
	GPIO_InitStruct.Speed = GPIO_SPEED_FREQ_LOW;
	HAL_GPIO_Init(GPIOA, &GPIO_InitStruct);

	/*Configure GPIO pins : NCA1_Pin TE_TFT_Pin NCA4_Pin NCA5_Pin
	 NCA6_Pin NCA7_Pin */
	GPIO_InitStruct.Pin = NCA1_Pin | TE_TFT_Pin | NCA4_Pin | NCA5_Pin | NCA6_Pin
			| NCA7_Pin;
	GPIO_InitStruct.Mode = GPIO_MODE_INPUT;
	GPIO_InitStruct.Pull = GPIO_PULLDOWN;
	HAL_GPIO_Init(GPIOA, &GPIO_InitStruct);

	/*Configure GPIO pins : LINPWM_BOOST_Pin SPI_CS_FLASH_Pin LED_STATUS_Pin USER_LED_Pin
	 CAN_TX_Pin */
	GPIO_InitStruct.Pin = LINPWM_BOOST_Pin | SPI_CS_FLASH_Pin | LED_STATUS_Pin
			| USER_LED_Pin | CAN_TX_Pin;
	GPIO_InitStruct.Mode = GPIO_MODE_OUTPUT_PP;
	GPIO_InitStruct.Pull = GPIO_NOPULL;
	GPIO_InitStruct.Speed = GPIO_SPEED_FREQ_LOW;
	HAL_GPIO_Init(GPIOB, &GPIO_InitStruct);

	/*Configure GPIO pins : USER_LED_Pin   */
	GPIO_InitStruct.Pin = USER_LED_Pin;
	GPIO_InitStruct.Mode = GPIO_MODE_OUTPUT_PP;
	GPIO_InitStruct.Pull = GPIO_NOPULL;
	GPIO_InitStruct.Speed = GPIO_SPEED_FREQ_LOW;
	HAL_GPIO_Init(GPIOB, &GPIO_InitStruct);

	/*Configure GPIO pins : NCB10_Pin NCB4_Pin BTN_USER_Pin BOOT0_Pin */
	GPIO_InitStruct.Pin = NCB10_Pin | NCB4_Pin | BTN_USER_Pin | BOOT0_Pin;
	GPIO_InitStruct.Mode = GPIO_MODE_INPUT;
	GPIO_InitStruct.Pull = GPIO_PULLDOWN;
	HAL_GPIO_Init(GPIOB, &GPIO_InitStruct);

	/*Configure GPIO pins : HINPWM_BOOST_Pin LINPWM_BUCK_Pin */
	GPIO_InitStruct.Pin = HINPWM_BOOST_Pin | LINPWM_BUCK_Pin;
	GPIO_InitStruct.Mode = GPIO_MODE_OUTPUT_PP;
	GPIO_InitStruct.Pull = GPIO_NOPULL;
	GPIO_InitStruct.Speed = GPIO_SPEED_FREQ_LOW;
	HAL_GPIO_Init(GPIOC, &GPIO_InitStruct);

	/*Configure GPIO pin : NCD2_Pin */
	GPIO_InitStruct.Pin = NCD2_Pin;
	GPIO_InitStruct.Mode = GPIO_MODE_INPUT;
	GPIO_InitStruct.Pull = GPIO_PULLDOWN;
	HAL_GPIO_Init(NCD2_GPIO_Port, &GPIO_InitStruct);

}

/* USER CODE BEGIN 4 */

/**
  * @brief  Compares two buffers.
  * @param  pBuffer1, pBuffer2: buffers to be compared.
  * @param  BufferLength: buffer's length
  * @retval 0  : pBuffer1 identical to pBuffer2
  *         >0 : pBuffer1 differs from pBuffer2
  */
static uint16_t Buffercmp(uint8_t *pBuffer1, uint8_t *pBuffer2, uint16_t BufferLength)
{
  while (BufferLength--)
  {
    if ((*pBuffer1) != *pBuffer2)
    {
      return BufferLength;
    }
    pBuffer1++;
    pBuffer2++;
  }

  return 0;
}

/**
  * @brief  Flushes the buffer
  * @param  pBuffer: buffers to be flushed.
  * @param  BufferLength: buffer's length
  * @retval None
  */
static void Flush_Buffer(uint8_t *pBuffer, uint16_t BufferLength)
{
  while (BufferLength--)
  {
    *pBuffer = 0;

    pBuffer++;
  }
}
/* USER CODE END 4 */

void Error_Handler(void) {
	/* USER CODE BEGIN Error_Handler_Debug */
	/* Error if LED_STATUS is slowly blinking (1 sec. period) */
	while (1) {
		HAL_GPIO_TogglePin(GPIOB,LED_STATUS_Pin);
		HAL_Delay(1000);
	}

	/* USER CODE END Error_Handler_Debug */
}

#ifdef  USE_FULL_ASSERT
/**
  * @brief  Reports the name of the source file and the source line number
  *         where the assert_param error has occurred.
  * @param  file: pointer to the source file name
  * @param  line: assert_param error line source number
  * @retval None
  */
void assert_failed(uint8_t *file, uint32_t line)
{
  /* USER CODE BEGIN 6 */
  Error_Handler();
  /* USER CODE END 6 */
}
#endif /* USE_FULL_ASSERT */

/************************ (C) COPYRIGHT STMicroelectronics *****END OF FILE****/
